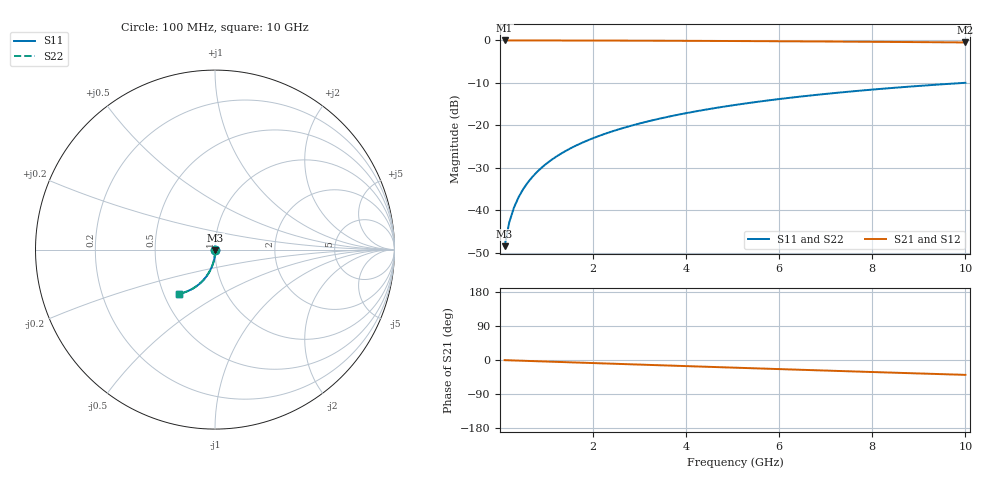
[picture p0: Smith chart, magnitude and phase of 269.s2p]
# Hz S RI R 50.00
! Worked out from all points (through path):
!   100 points, 100 MHz to 10 GHz, reference 50 ohm
!   highest |S21| = -0.01 dB at 100 MHz (marker M1); lowest = -0.5 dB at 10 GHz (marker M2)
!   group delay of S21, straight-line fit = 10.9 ps
!   lowest |S11| = -48.5 dB at 100 MHz (marker M3), VSWR 1.01, Z = 50.1 - j0.355 ohm
!   |S11| at or under -10 dB: start of sweep to 9.986 GHz
!   |S22| runs from -48.5 to -10.0 dB; largest |S21 - S12| = 0
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1e8  0.00125 -0.00354  0.9987 -0.00705  0.9987 -0.00705  0.00125 -0.00354
2e8  0.00118 -0.00708  0.9986 -0.0141  0.9986 -0.0141  0.00118 -0.00708
3e8  0.00106 -0.0106  0.9984 -0.0212  0.9984 -0.0212  0.00106 -0.0106
4e8  0.000884 -0.0142  0.9982 -0.0282  0.9982 -0.0282  0.000884 -0.0142
5e8  0.000659 -0.0177  0.9979 -0.0353  0.9979 -0.0353  0.000659 -0.0177
6e8  0.000383 -0.0212  0.9975 -0.0423  0.9975 -0.0423  0.000383 -0.0212
7e8  5.76e-05 -0.0248  0.9971 -0.0493  0.9971 -0.0493  5.76e-05 -0.0248
8e8  -0.000318 -0.0283  0.9966 -0.0564  0.9966 -0.0564  -0.000318 -0.0283
9e8  -0.000744 -0.0318  0.9961 -0.0634  0.9961 -0.0634  -0.000744 -0.0318
1.1e9  -0.00174 -0.0388  0.9948 -0.0774  0.9948 -0.0774  -0.00174 -0.0388
1.4e9  -0.00361 -0.0493  0.9925 -0.0984  0.9925 -0.0984  -0.00361 -0.0493
1.8e9  -0.00679 -0.063  0.9885 -0.1263  0.9885 -0.1263  -0.00679 -0.063
2.1e9  -0.00967 -0.0732  0.9849 -0.147  0.9849 -0.147  -0.00967 -0.0732
2.5e9  -0.0142 -0.0866  0.9792 -0.1744  0.9792 -0.1744  -0.0142 -0.0866
2.9e9  -0.0194 -0.0997  0.9726 -0.2016  0.9726 -0.2016  -0.0194 -0.0997
3.4e9  -0.0269 -0.1155  0.9631 -0.235  0.9631 -0.235  -0.0269 -0.1155
4.2e9  -0.0412 -0.1396  0.945 -0.2872  0.945 -0.2872  -0.0412 -0.1396
5.1e9  -0.0601 -0.1644  0.9208 -0.3437  0.9208 -0.3437  -0.0601 -0.1644
5.9e9  -0.0793 -0.1842  0.896 -0.3917  0.896 -0.3917  -0.0793 -0.1842
6.7e9  -0.1002 -0.2016  0.8686 -0.4373  0.8686 -0.4373  -0.1002 -0.2016
8.4e9  -0.1495 -0.2301  0.8026 -0.5259  0.8026 -0.5259  -0.1495 -0.2301
1e10  -0.1993 -0.2459  0.7332 -0.5983  0.7332 -0.5983  -0.1993 -0.2459
